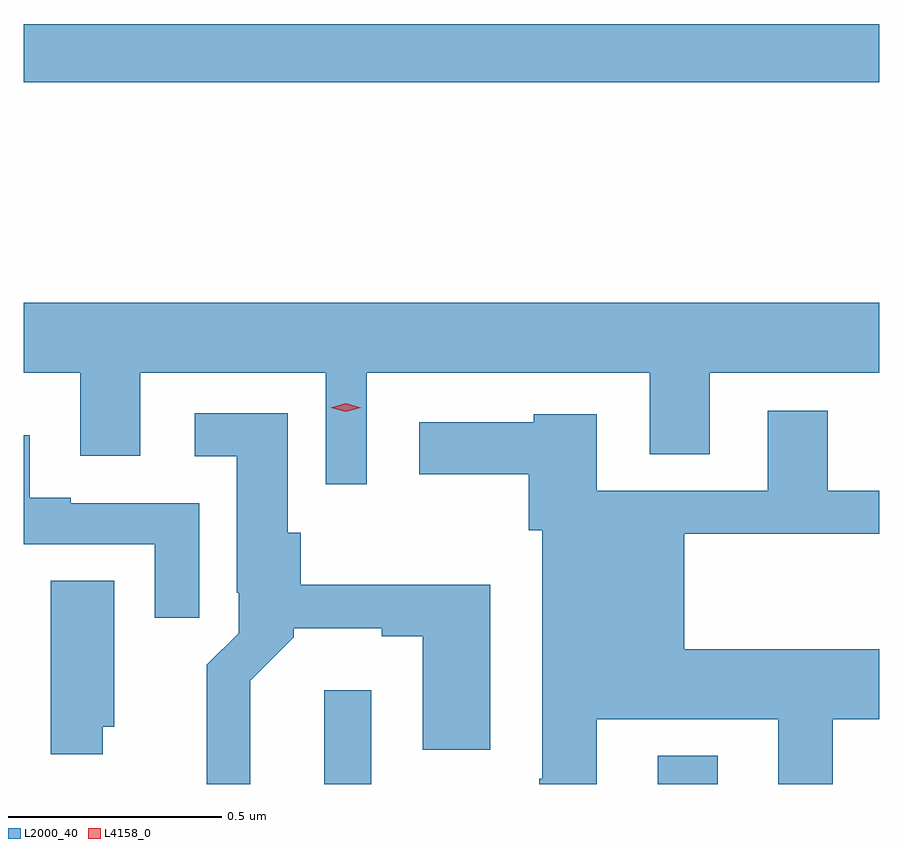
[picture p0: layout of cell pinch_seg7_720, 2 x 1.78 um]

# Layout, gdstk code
import gdstk
lib = gdstk.Library(unit=1e-6, precision=1e-09)
def R(c, l, rs):  # rectangles x0, y0, x1, y1
    for r in rs: c.add(gdstk.rectangle(r[:2], r[2:], *l))
def P(c, l, *ps):  # polygons
    for p in ps: c.add(gdstk.Polygon(p, *l))
L2000_40 = (2000, 40)
L4158_0 = (4158, 0)

pinch_seg7_720 = lib.new_cell('pinch_seg7_720')
R(pinch_seg7_720, L2000_40, [(338.939,999.655,339.049,999.874), (339.719,999.655,339.859,999.721), (338.237,1001.296,340.237,1001.432)])
P(pinch_seg7_720, L2000_40, [(339.039,1000.616),(339.701,1000.616),(339.701,1000.426),(339.841,1000.426),(339.841,1000.616),(340.237,1000.616),(340.237,1000.78),(338.237,1000.78),(338.237,1000.616),(338.369,1000.616),(338.369,1000.422),(338.509,1000.422),(338.509,1000.616),(338.943,1000.616),(338.943,1000.356),(339.039,1000.356)],
  [(339.577,999.806),(340.001,999.806),(340.001,999.655),(340.129,999.655),(340.129,999.806),(340.237,999.806),(340.237,999.97),(339.781,999.97),(339.781,1000.24),(340.237,1000.24),(340.237,1000.341),(340.117,1000.341),(340.117,1000.528),(339.977,1000.528),(339.977,1000.341),(339.577,1000.341),(339.577,1000.519),(339.429,1000.519),(339.429,1000.501),(339.162,1000.501),(339.162,1000.379),(339.418,1000.379),(339.418,1000.248),(339.449,1000.248),(339.449,999.667),(339.442,999.667),(339.442,999.655),(339.577,999.655)],
  [(338.767,999.896),(338.868,999.998),(338.868,1000.019),(339.074,1000.019),(339.074,1000),(339.17,1000),(339.17,999.735),(339.328,999.735),(339.328,1000.121),(338.885,1000.121),(338.885,1000.242),(338.854,1000.242),(338.854,1000.522),(338.637,1000.522),(338.637,1000.421),(338.735,1000.421),(338.735,1000.102),(338.739,1000.102),(338.739,1000.008),(338.665,999.934),(338.665,999.655),(338.767,999.655)],
  [(338.647,1000.311),(338.347,1000.311),(338.347,1000.324),(338.251,1000.324),(338.251,1000.471),(338.237,1000.471),(338.237,1000.215),(338.543,1000.215),(338.543,1000.044),(338.647,1000.044)],
  [(338.422,999.789),(338.449,999.789),(338.449,1000.13),(338.3,1000.13),(338.3,999.725),(338.422,999.725)])
P(pinch_seg7_720, L4158_0, [(338.99,1000.525),(338.955,1000.535),(338.955,1000.535),(338.955,1000.535),(338.99,1000.545),(339.025,1000.535),(339.026,1000.535),(339.025,1000.535)])

lib.write_gds('pinch_seg7_720.gds')
